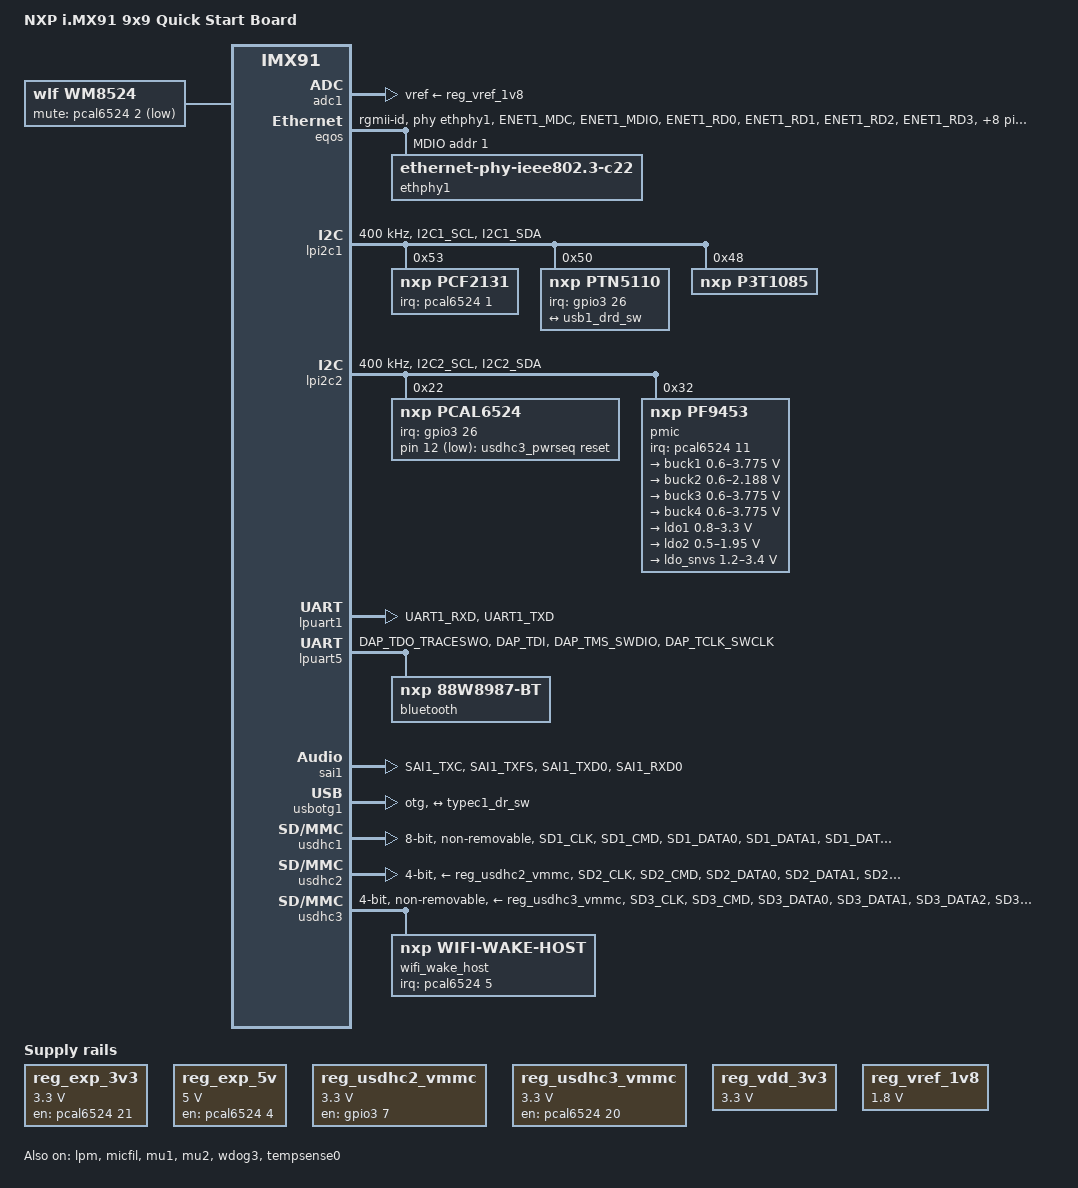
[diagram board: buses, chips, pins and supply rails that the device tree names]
// SPDX-License-Identifier: (GPL-2.0+ OR MIT)
/*
 * Copyright 2024 NXP
 */

/dts-v1/;

#include <dt-bindings/usb/pd.h>
#include "imx91.dtsi"

&ele_fw2 {
	memory-region = <&ele_reserved>;
};

/ {
	model = "NXP i.MX91 9x9 Quick Start Board";
	compatible = "fsl,imx91-9x9-qsb", "fsl,imx91";

	chosen {
		stdout-path = &lpuart1;
	};

	reserved-memory {
		#address-cells = <2>;
		#size-cells = <2>;
		ranges;

		linux,cma {
			compatible = "shared-dma-pool";
			reusable;
			size = <0 0x10000000>;
			linux,cma-default;
		};

		ele_reserved: ele-reserved@a4120000 {
			compatible = "shared-dma-pool";
			reg = <0 0xa4120000 0 0x100000>;
			no-map;
		};
	};

	reg_exp_3v3: regulator-exp-3v3 {
		compatible = "regulator-fixed";
		regulator-name = "EXP_3V3";
		regulator-min-microvolt = <3300000>;
		regulator-max-microvolt = <3300000>;
		gpio = <&pcal6524 21 GPIO_ACTIVE_HIGH>;
		enable-active-high;
	};

	reg_exp_5v: regulator-exp-5v {
		compatible = "regulator-fixed";
		regulator-name = "EXP_5V";
		regulator-min-microvolt = <5000000>;
		regulator-max-microvolt = <5000000>;
		gpio = <&pcal6524 4 GPIO_ACTIVE_HIGH>;
		enable-active-high;
	};

	reg_usdhc2_vmmc: regulator-usdhc2 {
		compatible = "regulator-fixed";
		pinctrl-names = "default";
		pinctrl-0 = <&pinctrl_reg_usdhc2_vmmc>;
		regulator-name = "VSD_3V3";
		regulator-min-microvolt = <3300000>;
		regulator-max-microvolt = <3300000>;
		gpio = <&gpio3 7 GPIO_ACTIVE_HIGH>;
		off-on-delay-us = <12000>;
		enable-active-high;
	};

	reg_usdhc3_vmmc: regulator-usdhc3 {
		compatible = "regulator-fixed";
		regulator-name = "WLAN_EN";
		regulator-min-microvolt = <3300000>;
		regulator-max-microvolt = <3300000>;
		gpio = <&pcal6524 20 GPIO_ACTIVE_HIGH>;
		/*
		 * IW612 wifi chip needs more delay than other wifi chips to complete
		 * the host interface initialization after power up, otherwise the
		 * internal state of IW612 may be unstable, resulting in the failure of
		 * the SDIO3.0 switch voltage.
		 */
		startup-delay-us = <20000>;
		enable-active-high;
	};

	reg_vdd_3v3: regulator-vdd {
		compatible = "regulator-fixed";
		regulator-name = "VDD_3V3";
		regulator-min-microvolt = <3300000>;
		regulator-max-microvolt = <3300000>;
	};

	reg_vref_1v8: regulator-adc-vref {
		compatible = "regulator-fixed";
		regulator-name = "vref_1v8";
		regulator-min-microvolt = <1800000>;
		regulator-max-microvolt = <1800000>;
	};

	usdhc3_pwrseq: usdhc3_pwrseq {
		compatible = "mmc-pwrseq-simple";
		reset-gpios = <&pcal6524 12 GPIO_ACTIVE_LOW>;
	};

	wm8524: audio-codec {
		#sound-dai-cells = <0>;
		compatible = "wlf,wm8524";
		wlf,mute-gpios = <&pcal6524 2 GPIO_ACTIVE_LOW>;
		clocks = <&clk IMX91_CLK_SAI1>;
		clock-names = "mclk";
	};

	sound-wm8524 {
		compatible = "fsl,imx-audio-wm8524";
		model = "wm8524-audio";
		audio-cpu = <&sai1>;
		audio-codec = <&wm8524>;
		audio-routing =
			"Line Out Jack", "LINEVOUTL",
			"Line Out Jack", "LINEVOUTR";
	};

	sound-micfil {
		compatible = "fsl,imx-audio-card";
		model = "micfil-audio";
		pri-dai-link {
			link-name = "micfil hifi";
			format = "i2s";
			cpu {
				sound-dai = <&micfil>;
			};
		};
	};
};

&adc1 {
	vref-supply = <&reg_vref_1v8>;
	status = "okay";
};

&eqos {
	pinctrl-names = "default";
	pinctrl-0 = <&pinctrl_eqos>;
	phy-mode = "rgmii-id";
	phy-handle = <&ethphy1>;
	status = "okay";

	mdio {
		compatible = "snps,dwmac-mdio";
		#address-cells = <1>;
		#size-cells = <0>;
		clock-frequency = <5000000>;

		ethphy1: ethernet-phy@1 {
			compatible = "ethernet-phy-ieee802.3-c22";
			reg = <1>;
			realtek,clkout-disable;
		};
	};
};

&lpi2c1 {
	clock-frequency = <400000>;
	pinctrl-names = "default";
	pinctrl-0 = <&pinctrl_lpi2c1>;
	status = "okay";

	pcf2131: rtc@53 {
			compatible = "nxp,pcf2131";
			reg = <0x53>;
			interrupt-parent = <&pcal6524>;
			interrupts = <1 IRQ_TYPE_EDGE_FALLING>;
			status = "okay";
	};

	ptn5110: tcpc@50 {
		compatible = "nxp,ptn5110";
		reg = <0x50>;
		interrupt-parent = <&gpio3>;
		interrupts = <26 IRQ_TYPE_LEVEL_LOW>;
		status = "okay";

		port {
			typec1_dr_sw: endpoint {
				remote-endpoint = <&usb1_drd_sw>;
			};
		};

		typec1_con: connector {
			compatible = "usb-c-connector";
			label = "USB-C";
			power-role = "dual";
			data-role = "dual";
			try-power-role = "sink";
			source-pdos = <PDO_FIXED(5000, 3000, PDO_FIXED_USB_COMM)>;
			sink-pdos = <PDO_FIXED(5000, 3000, PDO_FIXED_USB_COMM)
				     PDO_VAR(5000, 20000, 3000)>;
			op-sink-microwatt = <15000000>;
			self-powered;
		};
	};

	p3t1085: temp-sensor@48 {
		compatible = "nxp,p3t1085";
		reg = <0x48>;
	};
};

&lpi2c2 {
	clock-frequency = <400000>;
	pinctrl-names = "default";
	pinctrl-0 = <&pinctrl_lpi2c2>;
	status = "okay";

	pcal6524: gpio@22 {
		compatible = "nxp,pcal6524";
		pinctrl-names = "default";
		pinctrl-0 = <&pinctrl_pcal6524>;
		reg = <0x22>;
		gpio-controller;
		#gpio-cells = <2>;
		interrupt-controller;
		#interrupt-cells = <2>;
		interrupt-parent = <&gpio3>;
		interrupts = <26 IRQ_TYPE_LEVEL_LOW>;

		sai1-en-hog {
			gpio-hog;
			gpios = <9 GPIO_ACTIVE_HIGH>;
			output-low;
		};

		/*
		 * MIC/CAN_SEL selects pins between MIC and CAN.
		 * Default DT selects the MIC pins.
		 */
		mic-can-sel-hog {
			gpio-hog;
			gpios = <17 GPIO_ACTIVE_HIGH>;
			output-low;
		};

		/*
		 * M2/SAI1_SEL selects SAI1 pins between audio DAC and M.2.
		 * Default DT selects the audio DAC.
		 */
		m2-sai1-sel-hog  {
			gpio-hog;
			gpios = <18 GPIO_ACTIVE_HIGH>;
			output-low;
		};

		/* SW select the qspi pins. Or set SW4[1] to 1 on board */
		sd3-qspi-sel-hog {
			gpio-hog;
			gpios = <16 GPIO_ACTIVE_HIGH>;
			output-low;
		};
	};

	pmic@32 {
		compatible = "nxp,pf9453";
		reg = <0x32>;
		interrupt-parent = <&pcal6524>;
		interrupts = <11 IRQ_TYPE_EDGE_FALLING>;

		regulators {
			buck1: BUCK1 {
				regulator-name = "BUCK1";
				regulator-min-microvolt = <600000>;
				regulator-max-microvolt = <3775000>;
				regulator-boot-on;
				regulator-always-on;
			};

			buck2: BUCK2 {
				regulator-name = "BUCK2";
				regulator-min-microvolt = <600000>;
				regulator-max-microvolt = <2187500>;
				regulator-boot-on;
				regulator-always-on;
				regulator-ramp-delay = <12500>;
			};

			buck3: BUCK3 {
				regulator-name = "BUCK3";
				regulator-min-microvolt = <600000>;
				regulator-max-microvolt = <3775000>;
				regulator-boot-on;
				regulator-always-on;
			};

			buck4: BUCK4{
				regulator-name = "BUCK4";
				regulator-min-microvolt = <600000>;
				regulator-max-microvolt = <3775000>;
				regulator-boot-on;
				regulator-always-on;
			};

			ldo1: LDO1 {
				regulator-name = "LDO1";
				regulator-min-microvolt = <800000>;
				regulator-max-microvolt = <3300000>;
				regulator-boot-on;
				regulator-always-on;
			};

			ldo2: LDO2 {
				regulator-name = "LDO2";
				regulator-min-microvolt = <500000>;
				regulator-max-microvolt = <1950000>;
				regulator-boot-on;
				regulator-always-on;
			};

			ldo_snvs: LDO_SNVS {
				regulator-name = "LDO_SNVS";
				regulator-min-microvolt = <1200000>;
				regulator-max-microvolt = <3400000>;
				regulator-boot-on;
				regulator-always-on;
			};
		};
	};
};

&lpuart1 { /* console */
	pinctrl-names = "default";
	pinctrl-0 = <&pinctrl_uart1>;
	status = "okay";
};

&lpuart5 {
	/* BT */
	pinctrl-names = "default";
	pinctrl-0 = <&pinctrl_uart5>;
	status = "okay";

	bluetooth {
		compatible = "nxp,88w8987-bt";
	};
};

&lpm {
	soc-supply = <&buck2>;
	status = "okay";
};

&micfil {
	#sound-dai-cells = <0>;
	pinctrl-names = "default";
	pinctrl-0 = <&pinctrl_pdm>;
	assigned-clocks = <&clk IMX91_CLK_PDM>;
	assigned-clock-parents = <&clk IMX91_CLK_AUDIO_PLL>;
	assigned-clock-rates = <49152000>;
	status = "okay";
};

&mu1 {
	status = "okay";
};

&mu2 {
	status = "okay";
};

&sai1 {
	#sound-dai-cells = <0>;
	pinctrl-names = "default";
	pinctrl-0 = <&pinctrl_sai1>;
	assigned-clocks = <&clk IMX91_CLK_SAI1>;
	assigned-clock-parents = <&clk IMX91_CLK_AUDIO_PLL>;
	assigned-clock-rates = <24576000>;
	fsl,sai-mclk-direction-output;
	status = "okay";
};

&usbotg1 {
	dr_mode = "otg";
	hnp-disable;
	srp-disable;
	adp-disable;
	usb-role-switch;
	disable-over-current;
	samsung,picophy-pre-emp-curr-control = <3>;
	samsung,picophy-dc-vol-level-adjust = <7>;
	status = "okay";

	port {
		usb1_drd_sw: endpoint {
			remote-endpoint = <&typec1_dr_sw>;
		};
	};
};

&usdhc1 {
	pinctrl-names = "default", "state_100mhz", "state_200mhz";
	pinctrl-0 = <&pinctrl_usdhc1>;
	pinctrl-1 = <&pinctrl_usdhc1_100mhz>;
	pinctrl-2 = <&pinctrl_usdhc1_200mhz>;
	bus-width = <8>;
	fsl,tuning-step = <1>;
	non-removable;
	status = "okay";
};

&usdhc2 {
	pinctrl-names = "default", "state_100mhz", "state_200mhz";
	pinctrl-0 = <&pinctrl_usdhc2>, <&pinctrl_usdhc2_gpio>;
	pinctrl-1 = <&pinctrl_usdhc2_100mhz>, <&pinctrl_usdhc2_gpio>;
	pinctrl-2 = <&pinctrl_usdhc2_200mhz>, <&pinctrl_usdhc2_gpio>;
	cd-gpios = <&gpio3 00 GPIO_ACTIVE_LOW>;
	fsl,cd-gpio-wakeup-disable;
	vmmc-supply = <&reg_usdhc2_vmmc>;
	bus-width = <4>;
	fsl,tuning-step = <1>;
	no-sdio;
	no-mmc;
	status = "okay";
};

&usdhc3 {
	pinctrl-names = "default", "state_100mhz", "state_200mhz";
	pinctrl-0 = <&pinctrl_usdhc3>;
	pinctrl-1 = <&pinctrl_usdhc3_100mhz>;
	pinctrl-2 = <&pinctrl_usdhc3_200mhz>;
	mmc-pwrseq = <&usdhc3_pwrseq>;
	vmmc-supply = <&reg_usdhc3_vmmc>;
	bus-width = <4>;
	keep-power-in-suspend;
	non-removable;
	wakeup-source;
	status = "okay";

	wifi_wake_host {
		compatible = "nxp,wifi-wake-host";
		interrupt-parent = <&pcal6524>;
		/* pcal6524 IO expander limitation: only support edge-triggered irq */
		interrupts = <5 IRQ_TYPE_EDGE_FALLING>;
		interrupt-names = "host-wake";
	};
};

&wdog3 {
	status = "okay";
};

&tempsense0 {
	status = "okay";
};

&iomuxc {
	pinctrl_eqos: eqosgrp {
		fsl,pins = <
			MX91_PAD_ENET1_MDC__ENET1_MDC                   0x57e
			MX91_PAD_ENET1_MDIO__ENET_QOS_MDIO			0x57e
			MX91_PAD_ENET1_RD0__ENET_QOS_RGMII_RD0			0x57e
			MX91_PAD_ENET1_RD1__ENET_QOS_RGMII_RD1			0x57e
			MX91_PAD_ENET1_RD2__ENET_QOS_RGMII_RD2			0x57e
			MX91_PAD_ENET1_RD3__ENET_QOS_RGMII_RD3			0x57e
			MX91_PAD_ENET1_RXC__ENET_QOS_RGMII_RXC			0x5fe
			MX91_PAD_ENET1_RX_CTL__ENET_QOS_RGMII_RX_CTL		0x57e
			MX91_PAD_ENET1_TD0__ENET_QOS_RGMII_TD0			0x57e
			MX91_PAD_ENET1_TD1__ENET1_RGMII_TD1			0x57e
			MX91_PAD_ENET1_TD2__ENET_QOS_RGMII_TD2			0x57e
			MX91_PAD_ENET1_TD3__ENET_QOS_RGMII_TD3			0x57e
			MX91_PAD_ENET1_TXC__CCM_ENET_QOS_CLOCK_GENERATE_TX_CLK	0x5fe
			MX91_PAD_ENET1_TX_CTL__ENET_QOS_RGMII_TX_CTL		0x57e
		>;
	};

	pinctrl_lpi2c1: lpi2c1grp {
		fsl,pins = <
			MX91_PAD_I2C1_SCL__LPI2C1_SCL			0x40000b9e
			MX91_PAD_I2C1_SDA__LPI2C1_SDA			0x40000b9e
		>;
	};

	pinctrl_lpi2c2: lpi2c2grp {
		fsl,pins = <
			MX91_PAD_I2C2_SCL__LPI2C2_SCL			0x40000b9e
			MX91_PAD_I2C2_SDA__LPI2C2_SDA			0x40000b9e
		>;
	};

	pinctrl_pcal6524: pcal6524grp {
		fsl,pins = <
			MX91_PAD_CCM_CLKO1__GPIO3_IO26			0x31e
		>;
	};

	pinctrl_uart1: uart1grp {
		fsl,pins = <
			MX91_PAD_UART1_RXD__LPUART1_RX			0x31e
			MX91_PAD_UART1_TXD__LPUART1_TX			0x31e
		>;
	};

	pinctrl_uart5: uart5grp {
		fsl,pins = <
			MX91_PAD_DAP_TDO_TRACESWO__LPUART5_TX	0x31e
			MX91_PAD_DAP_TDI__LPUART5_RX		0x31e
			MX91_PAD_DAP_TMS_SWDIO__LPUART5_RTS_B	0x31e
			MX91_PAD_DAP_TCLK_SWCLK__LPUART5_CTS_B	0x31e
		>;
	};

	pinctrl_usdhc1: usdhc1grp {
		fsl,pins = <
			MX91_PAD_SD1_CLK__USDHC1_CLK		0x1582
			MX91_PAD_SD1_CMD__USDHC1_CMD		0x1382
			MX91_PAD_SD1_DATA0__USDHC1_DATA0	0x1382
			MX91_PAD_SD1_DATA1__USDHC1_DATA1	0x1382
			MX91_PAD_SD1_DATA2__USDHC1_DATA2	0x1382
			MX91_PAD_SD1_DATA3__USDHC1_DATA3	0x1382
			MX91_PAD_SD1_DATA4__USDHC1_DATA4	0x1382
			MX91_PAD_SD1_DATA5__USDHC1_DATA5	0x1382
			MX91_PAD_SD1_DATA6__USDHC1_DATA6	0x1382
			MX91_PAD_SD1_DATA7__USDHC1_DATA7	0x1382
			MX91_PAD_SD1_STROBE__USDHC1_STROBE	0x1582
		>;
	};

	pinctrl_usdhc1_100mhz: usdhc1-100mhzgrp {
		fsl,pins = <
			MX91_PAD_SD1_CLK__USDHC1_CLK		0x158e
			MX91_PAD_SD1_CMD__USDHC1_CMD		0x138e
			MX91_PAD_SD1_DATA0__USDHC1_DATA0	0x138e
			MX91_PAD_SD1_DATA1__USDHC1_DATA1	0x138e
			MX91_PAD_SD1_DATA2__USDHC1_DATA2	0x138e
			MX91_PAD_SD1_DATA3__USDHC1_DATA3	0x138e
			MX91_PAD_SD1_DATA4__USDHC1_DATA4	0x138e
			MX91_PAD_SD1_DATA5__USDHC1_DATA5	0x138e
			MX91_PAD_SD1_DATA6__USDHC1_DATA6	0x138e
			MX91_PAD_SD1_DATA7__USDHC1_DATA7	0x138e
			MX91_PAD_SD1_STROBE__USDHC1_STROBE	0x158e
		>;
	};

	pinctrl_usdhc1_200mhz: usdhc1-200mhzgrp {
		fsl,pins = <
			MX91_PAD_SD1_CLK__USDHC1_CLK		0x15fe
			MX91_PAD_SD1_CMD__USDHC1_CMD		0x13fe
			MX91_PAD_SD1_DATA0__USDHC1_DATA0	0x13fe
			MX91_PAD_SD1_DATA1__USDHC1_DATA1	0x13fe
			MX91_PAD_SD1_DATA2__USDHC1_DATA2	0x13fe
			MX91_PAD_SD1_DATA3__USDHC1_DATA3	0x13fe
			MX91_PAD_SD1_DATA4__USDHC1_DATA4	0x13fe
			MX91_PAD_SD1_DATA5__USDHC1_DATA5	0x13fe
			MX91_PAD_SD1_DATA6__USDHC1_DATA6	0x13fe
			MX91_PAD_SD1_DATA7__USDHC1_DATA7	0x13fe
			MX91_PAD_SD1_STROBE__USDHC1_STROBE	0x15fe
		>;
	};

	pinctrl_reg_usdhc2_vmmc: regusdhc2vmmcgrp {
		fsl,pins = <
			MX91_PAD_SD2_RESET_B__GPIO3_IO7	0x31e
		>;
	};

	pinctrl_usdhc2_gpio: usdhc2gpiogrp {
		fsl,pins = <
			MX91_PAD_SD2_CD_B__GPIO3_IO0		0x31e
		>;
	};

	pinctrl_usdhc2: usdhc2grp {
		fsl,pins = <
			MX91_PAD_SD2_CLK__USDHC2_CLK		0x1582
			MX91_PAD_SD2_CMD__USDHC2_CMD		0x1382
			MX91_PAD_SD2_DATA0__USDHC2_DATA0	0x1382
			MX91_PAD_SD2_DATA1__USDHC2_DATA1	0x1382
			MX91_PAD_SD2_DATA2__USDHC2_DATA2	0x1382
			MX91_PAD_SD2_DATA3__USDHC2_DATA3	0x1382
			MX91_PAD_SD2_VSELECT__USDHC2_VSELECT	0x51e
		>;
	};

	pinctrl_usdhc2_100mhz: usdhc2-100mhzgrp {
		fsl,pins = <
			MX91_PAD_SD2_CLK__USDHC2_CLK		0x158e
			MX91_PAD_SD2_CMD__USDHC2_CMD		0x138e
			MX91_PAD_SD2_DATA0__USDHC2_DATA0	0x138e
			MX91_PAD_SD2_DATA1__USDHC2_DATA1	0x138e
			MX91_PAD_SD2_DATA2__USDHC2_DATA2	0x138e
			MX91_PAD_SD2_DATA3__USDHC2_DATA3	0x138e
			MX91_PAD_SD2_VSELECT__USDHC2_VSELECT	0x51e
		>;
	};

	pinctrl_usdhc2_200mhz: usdhc2-200mhzgrp {
		fsl,pins = <
			MX91_PAD_SD2_CLK__USDHC2_CLK		0x15fe
			MX91_PAD_SD2_CMD__USDHC2_CMD		0x13fe
			MX91_PAD_SD2_DATA0__USDHC2_DATA0	0x13fe
			MX91_PAD_SD2_DATA1__USDHC2_DATA1	0x13fe
			MX91_PAD_SD2_DATA2__USDHC2_DATA2	0x13fe
			MX91_PAD_SD2_DATA3__USDHC2_DATA3	0x13fe
			MX91_PAD_SD2_VSELECT__USDHC2_VSELECT	0x51e
		>;
	};

	pinctrl_usdhc3: usdhc3grp {
		fsl,pins = <
			MX91_PAD_SD3_CLK__USDHC3_CLK		0x1582
			MX91_PAD_SD3_CMD__USDHC3_CMD		0x1382
			MX91_PAD_SD3_DATA0__USDHC3_DATA0	0x1382
			MX91_PAD_SD3_DATA1__USDHC3_DATA1	0x1382
			MX91_PAD_SD3_DATA2__USDHC3_DATA2	0x1382
			MX91_PAD_SD3_DATA3__USDHC3_DATA3	0x1382
		>;
	};

	pinctrl_usdhc3_100mhz: usdhc3-100mhzgrp {
		fsl,pins = <
			MX91_PAD_SD3_CLK__USDHC3_CLK		0x158e
			MX91_PAD_SD3_CMD__USDHC3_CMD		0x138e
			MX91_PAD_SD3_DATA0__USDHC3_DATA0	0x138e
			MX91_PAD_SD3_DATA1__USDHC3_DATA1	0x138e
			MX91_PAD_SD3_DATA2__USDHC3_DATA2	0x138e
			MX91_PAD_SD3_DATA3__USDHC3_DATA3	0x138e
		>;
	};

	pinctrl_usdhc3_200mhz: usdhc3-200mhzgrp {
		fsl,pins = <
			MX91_PAD_SD3_CLK__USDHC3_CLK		0x15fe
			MX91_PAD_SD3_CMD__USDHC3_CMD		0x13fe
			MX91_PAD_SD3_DATA0__USDHC3_DATA0	0x13fe
			MX91_PAD_SD3_DATA1__USDHC3_DATA1	0x13fe
			MX91_PAD_SD3_DATA2__USDHC3_DATA2	0x13fe
			MX91_PAD_SD3_DATA3__USDHC3_DATA3	0x13fe
		>;
	};

	pinctrl_sai1: sai1grp {
		fsl,pins = <
			MX91_PAD_SAI1_TXC__SAI1_TX_BCLK			0x31e
			MX91_PAD_SAI1_TXFS__SAI1_TX_SYNC		0x31e
			MX91_PAD_SAI1_TXD0__SAI1_TX_DATA0		0x31e
			MX91_PAD_SAI1_RXD0__SAI1_MCLK			0x31e
		>;
	};

	pinctrl_pdm: pdmgrp {
		fsl,pins = <
			MX91_PAD_PDM_CLK__PDM_CLK			0x31e
			MX91_PAD_PDM_BIT_STREAM0__PDM_BIT_STREAM0	0x31e
			MX91_PAD_PDM_BIT_STREAM1__PDM_BIT_STREAM1	0x31e
		>;
	};
};

